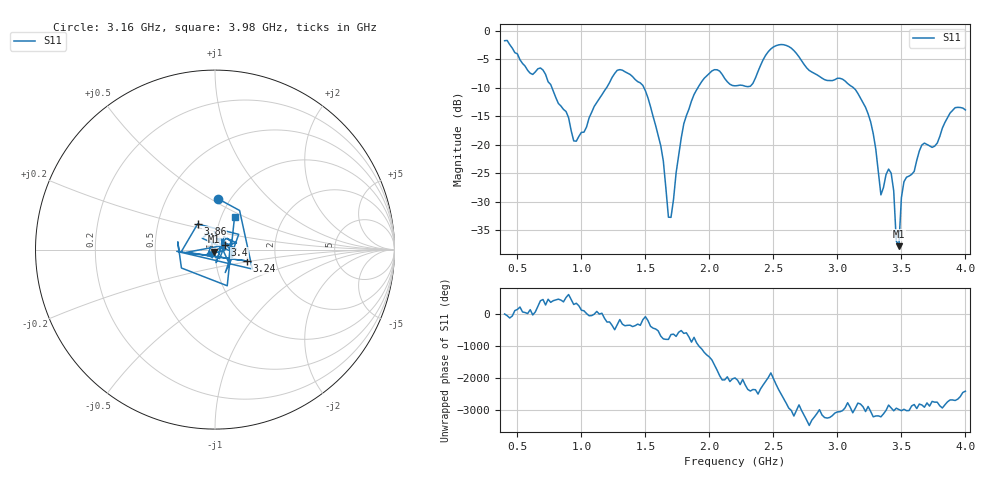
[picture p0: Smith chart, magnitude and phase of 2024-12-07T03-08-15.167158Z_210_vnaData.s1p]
!Created with skrf (http://scikit-rf.org).
# Hz S RI R 50.0
!freq ReS11 ImS11
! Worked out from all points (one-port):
!   181 points, 400 MHz to 4 GHz, reference 50 ohm
!   lowest |S11| = -37.8 dB at 3.48 GHz (marker M1), VSWR 1.03, Z = 49.5 - j1.17 ohm
!   |S11| at or under -10 dB: 770.4 MHz to 1.195 GHz (425.1 MHz wide, 43.2 % of centre); 1.489 GHz to 1.909 GHz (419.8 MHz wide, 24.7 % of centre); 3.126 GHz to end of sweep
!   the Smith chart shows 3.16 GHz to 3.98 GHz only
!   S11 on the Smith chart (normalised r, x): 3.16 GHz: 0.88, +0.54; 3.24 GHz: 1.41, -0.19; 3.4 GHz: 1.12, +0.06; 3.86 GHz: 0.79, +0.23; 3.98 GHz: 1.16, +0.44
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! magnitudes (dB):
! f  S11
! 400 MHz  -1.7
! 860 MHz  -13.8
! 960 MHz  -19.4
! 1.3 GHz  -6.8
! 1.52 GHz  -11.8
! 1.62 GHz  -20.2
! 1.68 GHz  -32.7
! 1.7 GHz  -32.8
! 1.76 GHz  -21.9
! 1.82 GHz  -14.9
! 1.96 GHz  -8.3
! 2.2 GHz  -9.6
! 2.32 GHz  -9.7
! 2.5 GHz  -2.8
! 2.66 GHz  -3.4
! 3.1 GHz  -9.6
! 3.16 GHz  -11.0
! 3.24 GHz  -14.6
! 3.34 GHz  -28.8
! 3.4 GHz  -24.3
! 3.44 GHz  -28.1
! 3.46 GHz  -36.9
! 3.48 GHz  -37.8
! 3.5 GHz  -29.3
! 3.56 GHz  -25.5
! 3.86 GHz  -15.3
! 3.98 GHz  -13.5
! 4 GHz  -13.9
